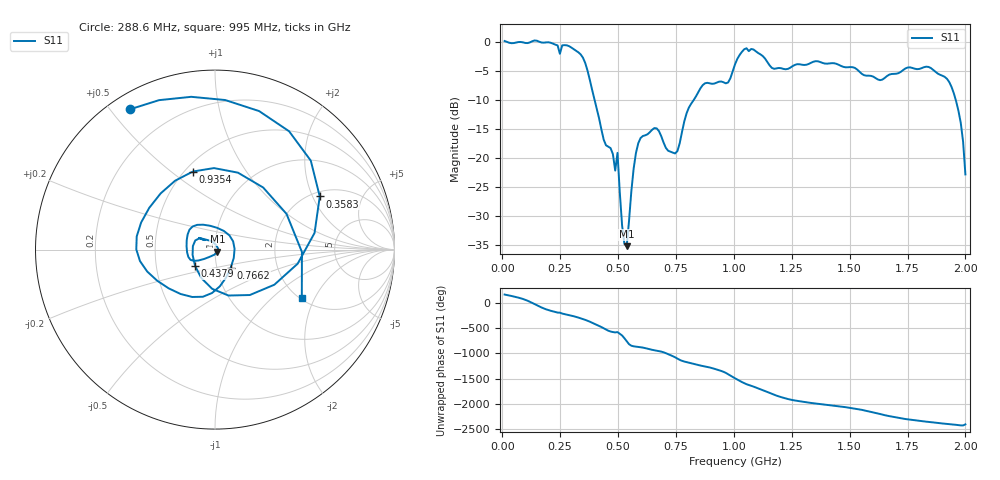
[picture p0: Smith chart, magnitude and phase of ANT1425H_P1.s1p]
!Created with skrf (http://scikit-rf.org).
# Hz S RI R 50.0
!freq ReS11 ImS11
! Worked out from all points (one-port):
!   201 points, 10 MHz to 2 GHz, reference 50 ohm
!   lowest |S11| = -35.2 dB at 537.4 MHz (marker M1), VSWR 1.04, Z = 51.4 - j1.1 ohm
!   |S11| at or under -10 dB: 398.5 MHz to 827.4 MHz (428.9 MHz wide, 70 % of centre); 1.958 GHz to end of sweep
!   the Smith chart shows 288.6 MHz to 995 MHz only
!   S11 on the Smith chart (normalised r, x): 288.6 MHz: 0.06, +0.56; 358.2 MHz: 2.19, +2.27; 437.9 MHz: 0.79, -0.15; 766.2 MHz: 1.17, -0.24; 935.4 MHz: 0.55, +0.60; 995 MHz: 2.04, -1.59
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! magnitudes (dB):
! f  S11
! 10 MHz  0.1
! 258.8 MHz  -0.6
! 288.6 MHz  -0.8
! 358.2 MHz  -3.7
! 437.9 MHz  -16.9
! 487.6 MHz  -22.2
! 497.6 MHz  -19.1
! 507.5 MHz  -26.0
! 527.4 MHz  -34.8
! 537.4 MHz  -35.2
! 567.2 MHz  -21.9
! 597 MHz  -16.6
! 666.7 MHz  -14.9
! 756.2 MHz  -18.8
! 766.2 MHz  -17.5
! 796 MHz  -12.3
! 855.8 MHz  -8.0
! 935.4 MHz  -6.9
! 995 MHz  -5.1
! 1.005 GHz  -3.9
! 1.055 GHz  -1.1
! 1.254 GHz  -4.2
! 1.502 GHz  -4.4
! 1.632 GHz  -6.6
! 1.751 GHz  -4.4
! 1.93 GHz  -7.0
! 1.98 GHz  -14.0
! 2 GHz  -22.9
